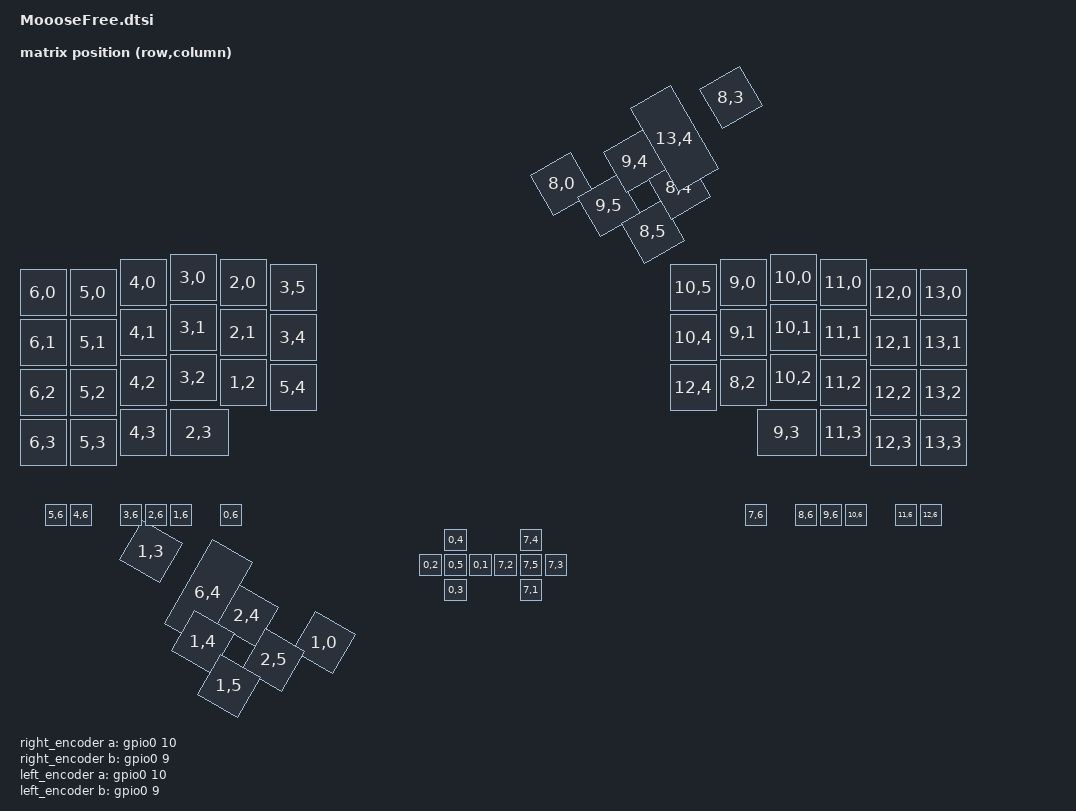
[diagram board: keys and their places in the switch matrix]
#include <dt-bindings/zmk/matrix_transform.h>
#include <physical_layouts.dtsi>

&gpio0 {
    status = "okay";
};

/ {
    chosen {
        zmk,physical-layout = &MoooseFree_physical_layout;
    };

    MoooseFree_physical_layout: MoooseFree_physical_layout {
        compatible = "zmk,physical-layout";
        display-name = "Default";
        transform = <&default_transform>;
        kscan = <&kscan0>;

        keys  //                     w   h    x    y     rot    rx    ry
            = <&key_physical_attrs 100 100    0   30       0     0     0>
            , <&key_physical_attrs 100 100  100   30       0     0     0>
            , <&key_physical_attrs 100 100  200   10       0     0     0>
            , <&key_physical_attrs 100 100  300    0       0     0     0>
            , <&key_physical_attrs 100 100  400   10       0     0     0>
            , <&key_physical_attrs 100 100  500   20       0     0     0>
            , <&key_physical_attrs  50  50  900  600       0     0     0>
            , <&key_physical_attrs 100 100    0  130       0     0     0>
            , <&key_physical_attrs 100 100  100  130       0     0     0>
            , <&key_physical_attrs 100 100  200  110       0     0     0>
            , <&key_physical_attrs 100 100  300  100       0     0     0>
            , <&key_physical_attrs 100 100  400  110       0     0     0>
            , <&key_physical_attrs 100 100  500  120       0     0     0>
            , <&key_physical_attrs  50  50  800  600       0     0     0>
            , <&key_physical_attrs 100 100    0  230       0     0     0>
            , <&key_physical_attrs 100 100  100  230       0     0     0>
            , <&key_physical_attrs 100 100  200  210       0     0     0>
            , <&key_physical_attrs 100 100  300  200       0     0     0>
            , <&key_physical_attrs 100 100  400  210       0     0     0>
            , <&key_physical_attrs 100 100  500  220       0     0     0>
            , <&key_physical_attrs 100 100  870  320    3000     0     0>
            , <&key_physical_attrs  50  50  850  650       0     0     0>
            , <&key_physical_attrs 100 100    0  330       0     0     0>
            , <&key_physical_attrs 100 100  100  330       0     0     0>
            , <&key_physical_attrs 100 100  200  310       0     0     0>
            , <&key_physical_attrs 125 100  300  310       0     0     0>
            , <&key_physical_attrs 100 100  710  350    3000     0     0>
            , <&key_physical_attrs 100 100  800  400    3000     0     0>
            , <&key_physical_attrs  50  50  850  550       0     0     0>
            , <&key_physical_attrs 100 100  480  335    3000     0     0>
            , <&key_physical_attrs 100 200  620  300    3000     0     0>
            , <&key_physical_attrs 100 100  660  440    3000     0     0>
            , <&key_physical_attrs 100 100  750  490    3000     0     0>
            , <&key_physical_attrs  50  50  850  600       0     0     0>
            , <&key_physical_attrs  50  50   50  500       0     0     0>
            , <&key_physical_attrs  50  50  100  500       0     0     0>
            , <&key_physical_attrs  50  50  200  500       0     0     0>
            , <&key_physical_attrs  50  50  250  500       0     0     0>
            , <&key_physical_attrs  50  50  300  500       0     0     0>
            , <&key_physical_attrs  50  50  400  500       0     0     0>
            , <&key_physical_attrs  50  50 1000  650       0     0     0>
            , <&key_physical_attrs 100 100 1300   20       0     0     0>
            , <&key_physical_attrs 100 100 1400   10       0     0     0>
            , <&key_physical_attrs 100 100 1500    0       0     0     0>
            , <&key_physical_attrs 100 100 1600   10       0     0     0>
            , <&key_physical_attrs 100 100 1700   30       0     0     0>
            , <&key_physical_attrs 100 100 1800   30       0     0     0>
            , <&key_physical_attrs  50  50  950  600       0     0     0>
            , <&key_physical_attrs 100 100 1300  120       0     0     0>
            , <&key_physical_attrs 100 100 1400  110       0     0     0>
            , <&key_physical_attrs 100 100 1500  100       0     0     0>
            , <&key_physical_attrs 100 100 1600  110       0     0     0>
            , <&key_physical_attrs 100 100 1700  130       0     0     0>
            , <&key_physical_attrs 100 100 1800  130       0     0     0>
            , <&key_physical_attrs  50  50 1050  600       0     0     0>
            , <&key_physical_attrs 100 100  960  375 (-3000)     0     0>
            , <&key_physical_attrs 100 100 1300  220       0     0     0>
            , <&key_physical_attrs 100 100 1400  210       0     0     0>
            , <&key_physical_attrs 100 100 1500  200       0     0     0>
            , <&key_physical_attrs 100 100 1600  210       0     0     0>
            , <&key_physical_attrs 100 100 1700  230       0     0     0>
            , <&key_physical_attrs 100 100 1800  230       0     0     0>
            , <&key_physical_attrs  50  50 1000  550       0     0     0>
            , <&key_physical_attrs 100 100 1020  460 (-3000)     0     0>
            , <&key_physical_attrs 100 100 1110  410 (-3000)     0     0>
            , <&key_physical_attrs 125 100 1475  310       0     0     0>
            , <&key_physical_attrs 100 100 1600  310       0     0     0>
            , <&key_physical_attrs 100 100 1700  330       0     0     0>
            , <&key_physical_attrs 100 100 1800  330       0     0     0>
            , <&key_physical_attrs  50  50 1000  600       0     0     0>
            , <&key_physical_attrs 100 100 1070  550 (-3000)     0     0>
            , <&key_physical_attrs 100 100 1160  500 (-3000)     0     0>
            , <&key_physical_attrs 100 200 1200  360 (-3000)     0     0>
            , <&key_physical_attrs 100 100 1340  395 (-3000)     0     0>
            , <&key_physical_attrs  50  50 1450  500       0     0     0>
            , <&key_physical_attrs  50  50 1550  500       0     0     0>
            , <&key_physical_attrs  50  50 1600  500       0     0     0>
            , <&key_physical_attrs  50  50 1650  500       0     0     0>
            , <&key_physical_attrs  50  50 1750  500       0     0     0>
            , <&key_physical_attrs  50  50 1800  500       0     0     0>
            ;
    };

    kscan0: kscan_0 {
        compatible = "zmk,kscan-gpio-charlieplex";
        interrupt-gpios = <&gpio1 11 (GPIO_ACTIVE_HIGH | GPIO_PULL_DOWN)>;
        gpios
            = <&xiao_d 9 GPIO_ACTIVE_HIGH>
            , <&xiao_d 1 GPIO_ACTIVE_HIGH>
            , <&xiao_d 2 GPIO_ACTIVE_HIGH>
            , <&xiao_d 3 GPIO_ACTIVE_HIGH>
            , <&xiao_d 7 GPIO_ACTIVE_HIGH>
            , <&xiao_d 8 GPIO_ACTIVE_HIGH>
            , <&gpio1 10 GPIO_ACTIVE_HIGH>
            ;
    };

    default_transform: keymap_transform_0 {
        compatible = "zmk,matrix-transform";
        rows = <5>;
        columns = <12>;
        map = <
            RC(6,0)  RC(5,0)  RC(4,0)  RC(3,0)  RC(2,0)  RC(3,5)                    RC(0,1)
            RC(6,1)  RC(5,1)  RC(4,1)  RC(3,1)  RC(2,1)  RC(3,4)                    RC(0,2)
            RC(6,2)  RC(5,2)  RC(4,2)  RC(3,2)  RC(1,2)  RC(5,4)           RC(1,0)  RC(0,3)
            RC(6,3)  RC(5,3)  RC(4,3)  RC(2,3)                    RC(2,4)  RC(2,5)  RC(0,4)
                                                RC(1,3)  RC(6,4)  RC(1,4)  RC(1,5)  RC(0,5)
            RC(5,6)  RC(4,6)                    RC(3,6)  RC(2,6)  RC(1,6)           RC(0,6)

            RC(7,1)                    RC(10,5)  RC(9,0)  RC(10,0)  RC(11,0)  RC(12,0)  RC(13,0)
            RC(7,2)                    RC(10,4)  RC(9,1)  RC(10,1)  RC(11,1)  RC(12,1)  RC(13,1)
            RC(7,3)  RC(8,0)           RC(12,4)  RC(8,2)  RC(10,2)  RC(11,2)  RC(12,2)  RC(13,2)
            RC(7,4)  RC(9,5)  RC(9,4)                     RC(9,3)   RC(11,3)  RC(12,3)  RC(13,3)
            RC(7,5)  RC(8,5)  RC(8,4)  RC(13,4)  RC(8,3)
            RC(7,6)           RC(8,6)  RC(9,6)   RC(10,6)                     RC(11,6)  RC(12,6)
        >;
    };

    right_encoder: encoder_right {
        compatible = "alps,ec11";
        a-gpios = <&gpio0 10 (GPIO_ACTIVE_HIGH | GPIO_PULL_UP)>;
        b-gpios = <&gpio0 9 (GPIO_ACTIVE_HIGH | GPIO_PULL_UP)>;
        steps = <20>;
        status = "disabled";
    };

    left_encoder: encoder_left {
        compatible = "alps,ec11";
        a-gpios = <&gpio0 10 (GPIO_ACTIVE_HIGH | GPIO_PULL_UP)>;
        b-gpios = <&gpio0 9 (GPIO_ACTIVE_HIGH | GPIO_PULL_UP)>;
        steps = <20>;
        status = "disabled";
    };

    sensors: sensors {
        compatible = "zmk,keymap-sensors";
        sensors = <&left_encoder &right_encoder>;
        triggers-per-rotation = <12>;
    };
};

&xiao_i2c { status = "disabled"; };
&xiao_serial { status = "disabled"; };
